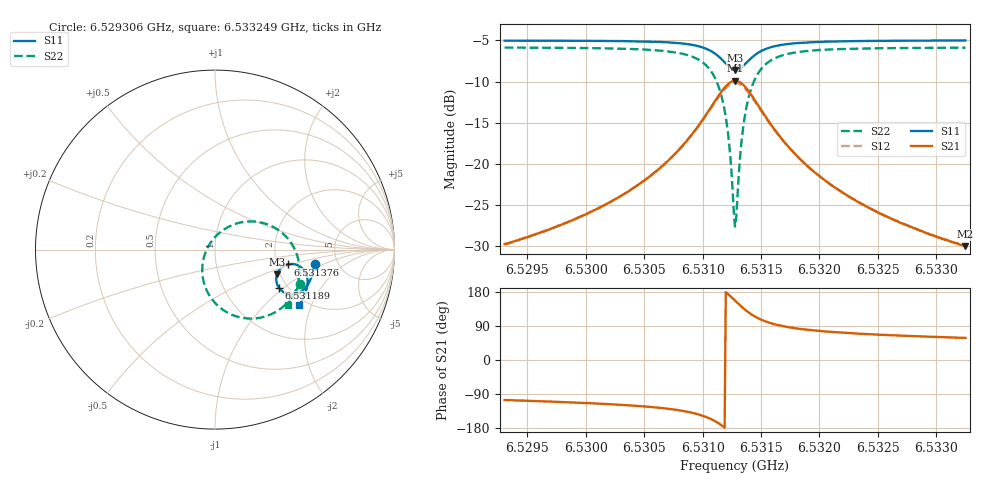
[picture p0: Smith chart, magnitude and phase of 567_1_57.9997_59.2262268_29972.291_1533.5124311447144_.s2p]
#  HZ  S  RI  R  50.00
! Rohde & Schwarz Vector Network Analyzer
! Rohde-Schwarz,ZNB20-2Port,1311601062101988,3.16
! Created: UTC 3/21/2024, 1:15:45 AM
! freq[Hz]  re:S11  im:S11  re:S21  im:S21  re:S12  im:S12  re:S22  im:S22
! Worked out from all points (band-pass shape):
!   401 points, 6.529306 GHz to 6.533249 GHz, reference 50 ohm
!   highest |S21| = -9.90 dB at 6.531277 GHz (marker M1); lowest = -30.0 dB at 6.533249 GHz (marker M2)
!   |S21| within 3 dB of the highest: 6.531082 GHz to 6.531476 GHz (394.2 kHz wide, 0.00604 % of centre)
!   lowest |S11| = -8.6 dB at 6.531277 GHz (marker M3), VSWR 2.18, Z = 96.2 - j30.9 ohm
!   |S11| at or under -10 dB: nowhere
!   |S22| runs from -27.6 to -5.9 dB; largest |S21 - S12| = 0.013
!   S11 on the Smith chart (normalised r, x): 6.529306 GHz: 3.35, -0.79; 6.531189 GHz: 1.80, -0.92; 6.531376 GHz: 2.29, -0.46; 6.533249 GHz: 1.82, -1.64
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6.5293058e9  0.5549 -0.0805  -0.00878 -0.0313  -0.00944 -0.031  0.4722 -0.1901
6.5299662e9  0.5428 -0.1357  -0.019 -0.0443  -0.02 -0.0439  0.4387 -0.2513
6.5303408e9  0.53 -0.171  -0.0322 -0.058  -0.0337 -0.0572  0.4037 -0.2953
6.5306266e9  0.5124 -0.2023  -0.0547 -0.0753  -0.0569 -0.0737  0.353 -0.3381
6.5308534e9  0.4837 -0.2315  -0.0965 -0.0944  -0.0993 -0.091  0.2691 -0.3756
6.5310209e9  0.4381 -0.2493  -0.1674 -0.0991  -0.1695 -0.0923  0.1394 -0.3776
6.5311195e9  0.3917 -0.2421  -0.2386 -0.07  -0.2374 -0.0601  0.0201 -0.3164
6.5311885e9  0.356 -0.2123  -0.2906 -0.00798  -0.2839 0.00206  -0.0559 -0.2034
6.5312181e9  0.3453 -0.1908  -0.3039 0.0324  -0.2946 0.0411  -0.0705 -0.1344
6.5312378e9  0.3417 -0.1741  -0.3067 0.0628  -0.2961 0.0699  -0.0697 -0.084
6.5312575e9  0.3417 -0.1564  -0.3036 0.0944  -0.292 0.0996  -0.059 -0.0328
6.5312772e9  0.3452 -0.1386  -0.2942 0.1254  -0.2822 0.1286  -0.0383 0.0161
6.5312871e9  0.3484 -0.1303  -0.2871 0.1402  -0.2753 0.1423  -0.0243 0.0391
6.5312969e9  0.3525 -0.1221  -0.2788 0.154  -0.2671 0.1552  -0.00824 0.0601
6.5313364e9  0.3758 -0.0962  -0.2344 0.1983  -0.2248 0.1961  0.0713 0.1248
6.5313758e9  0.4044 -0.0825  -0.183 0.2214  -0.1759 0.2176  0.1599 0.1542
6.5314448e9  0.4497 -0.0831  -0.1041 0.2216  -0.1006 0.218  0.2915 0.1409
6.5315434e9  0.4887 -0.1068  -0.0371 0.1877  -0.0356 0.1856  0.3992 0.0688
6.5316912e9  0.5106 -0.1442  0.00234 0.1378  0.00347 0.1371  0.4571 -0.0308
6.5319376e9  0.5154 -0.1885  0.0185 0.0895  0.0194 0.0893  0.4705 -0.1311
6.5325981e9  0.4966 -0.2585  0.0195 0.0428  0.0202 0.0425  0.4403 -0.2478
6.5332486e9  0.4708 -0.3076  0.0165 0.0269  0.0171 0.0265  0.4056 -0.3066
